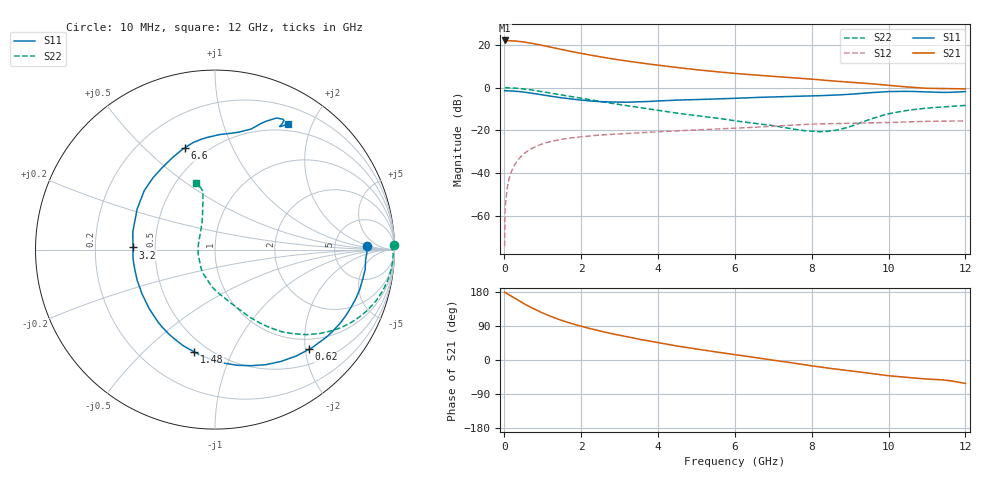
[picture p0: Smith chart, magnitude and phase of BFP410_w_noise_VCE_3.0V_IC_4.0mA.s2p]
! Infineon Technologies  Discrete & RF Semiconductors
! BFP410
! VCE =  3.0 V,  IC =  4.0 mA
! Common Emitter S-Parameters:  Nov 2015
# GHz  S  MA  R  50
!  f  S11  S21  S12  S22
! GHz  MAG  ANG  MAG  ANG  MAG  ANG  MAG  ANG
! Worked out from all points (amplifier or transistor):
!   243 points, 10 MHz to 12 GHz, reference 50 ohm
!   highest |S21| = 22.0 dB at 10 MHz (marker M1)
!   |S21| within 3 dB of that: start of sweep to 1.177 GHz
!   unconditionally stable (mu >= 1): start of sweep to 10.36 MHz; 3.332 GHz to end of sweep
!   at 240 MHz: K = 0.08, MSG = 29.5 dB, |S12| = -37.1 dB
!   at 1.84 GHz: K = 0.55, MSG = 19.9 dB, |S12| = -23.2 dB
!   at 12 GHz: K = 1.08, MAG = 5.7 dB, |S12| = -15.5 dB
!   lowest NFmin = 0.94 dB at 900 MHz
!   S11 on the Smith chart (normalised r, x): 10 MHz: 12, +2; 620 MHz: 0.78, -2.07; 1.48 GHz: 0.42, -0.72; 3.2 GHz: 0.37, +0.01; 6.6 GHz: 0.39, +0.67; 12 GHz: 0.41, +1.66
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0.01  0.8498 1.4  12.61 179.2  0.0002 41.5  0.9957 1.4
0.015  0.8483 0.3  12.56 178.9  0.0007 80.0  0.9911 0.8
0.03  0.8449 -1.8  12.49 177.8  0.0018 83.8  0.9889 -0.4
0.12  0.8416 -9.2  12.45 172.4  0.0071 84.4  0.9906 -4.5
0.34  0.8177 -26.0  12.09 159.0  0.0196 76.7  0.9651 -13.0
0.5  0.7895 -38.1  11.62 149.5  0.0281 71.0  0.9336 -18.8
0.62  0.7634 -46.7  11.17 142.8  0.0337 66.9  0.9049 -22.8
0.8  0.7236 -59.4  10.45 133.5  0.0415 61.3  0.8574 -28.5
1  0.6771 -72.8  9.643 124.0  0.0489 55.8  0.8003 -34.1
1.22  0.6302 -86.7  8.762 114.7  0.0556 50.5  0.74 -39.3
1.48  0.5816 -101.6  7.805 105.2  0.0619 45.4  0.6741 -44.5
1.72  0.5458 -114.6  7.048 97.2  0.0667 41.4  0.6204 -48.5
2.02  0.5098 -129.4  6.238 88.7  0.0718 37.4  0.5615 -52.7
2.6  0.4674 -157.2  5.047 73.9  0.0795 30.9  0.4597 -59.9
3.2  0.4575 178.5  4.169 61.5  0.0855 26.3  0.3796 -66.2
4.1  0.4923 149.9  3.26 44.1  0.0944 21.0  0.287 -76.7
5  0.5286 130.9  2.618 28.8  0.1031 16.1  0.2229 -90.8
6.1  0.5684 113.4  2.115 12.8  0.1138 11.0  0.1641 -107.8
6.6  0.5918 106.5  1.949 5.5  0.1202 8.6  0.1436 -119.0
8.2  0.6486 84.2  1.522 -18.1  0.1422 -3.4  0.0938 -179.4
10.2  0.8138 63.7  1.092 -43.3  0.1554 -16.3  0.2657 104.7
12  0.808 60.0  0.935 -61.8  0.1681 -30.5  0.385 105.8
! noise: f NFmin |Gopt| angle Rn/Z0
0.45  0.98  0.32  5  0.21
0.9  0.94  0.3  19  0.2
1.8  1.11  0.22  51  0.18
2.4  1.13  0.21  57  0.19
5.5  2.09  0.32  -131  0.22
10  3.48  0.67  -53  1.85
